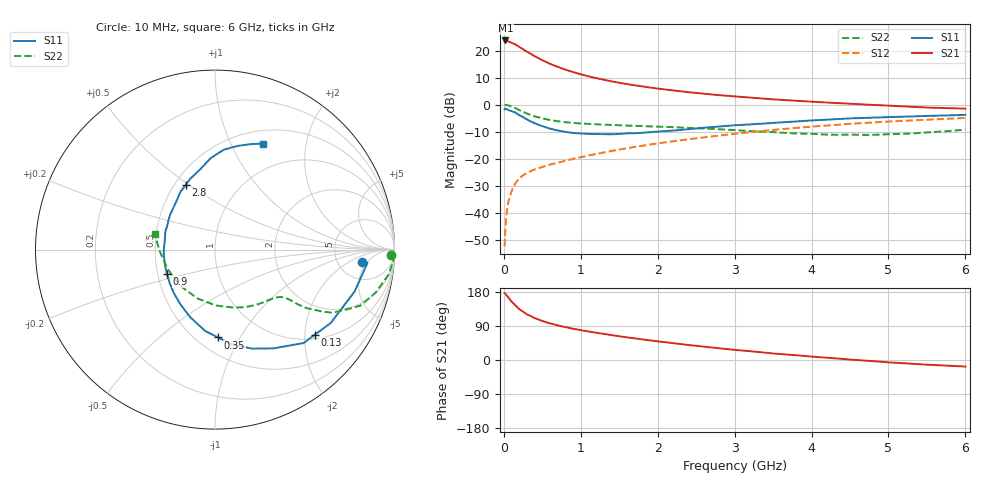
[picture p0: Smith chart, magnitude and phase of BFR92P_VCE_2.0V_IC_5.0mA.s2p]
! Infineon Technologies  Discrete & RF Semiconductors
! BFR92P
! VCE =  2.0 V,  IC =  5.0 mA
! Common Emitter S-Parameters:  Apr 2014
# GHz  S  MA  R  50
!  f  S11  S21  S12  S22
! GHz  MAG  ANG  MAG  ANG  MAG  ANG  MAG  ANG
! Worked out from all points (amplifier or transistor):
!   77 points, 10 MHz to 6 GHz, reference 50 ohm
!   highest |S21| = 23.8 dB at 20 MHz (marker M1)
!   |S21| within 3 dB of that: start of sweep to 235.2 MHz
!   unconditionally stable (mu >= 1): 967.3 MHz to 2.859 GHz
!   at 130 MHz: K = 0.24, MSG = 26.4 dB, |S12| = -30.2 dB
!   at 2.2 GHz: K = 1.06, MAG = 8.0 dB, |S12| = -13.5 dB
!   at 6 GHz: K = 0.89, MSG = 1.7 dB, |S12| = -4.9 dB
!   S11 on the Smith chart (normalised r, x): 10 MHz: 8.51, -3.62; 130 MHz: 1.10, -2.24; 350 MHz: 0.63, -0.81; 900 MHz: 0.56, -0.17; 2.8 GHz: 0.57, +0.48; 6 GHz: 0.65, +1.34
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0.01  0.8193 -4.9  15.08 176.0  0.0024 83.9  0.9802 -1.8
0.02  0.8529 -5.0  15.49 174.8  0.0051 89.5  0.996 -3.2
0.05  0.812 -16.7  15.09 167.1  0.0138 82.1  0.979 -8.0
0.1  0.7638 -32.3  14.04 154.2  0.0248 74.3  0.9257 -15.1
0.13  0.7305 -40.6  13.43 148.4  0.031 69.9  0.8897 -18.6
0.15  0.7175 -46.5  13.11 144.3  0.0352 67.8  0.8677 -21.1
0.2  0.6403 -59.2  11.78 134.4  0.043 63.4  0.7964 -25.0
0.3  0.5339 -80.4  9.609 120.4  0.0545 57.6  0.6861 -30.1
0.35  0.4896 -88.1  8.739 115.9  0.0589 56.6  0.6474 -31.2
0.4  0.4557 -97.1  7.934 110.5  0.0634 55.8  0.6089 -32.5
0.5  0.4008 -110.2  6.676 102.9  0.0701 55.4  0.557 -33.4
0.6  0.3605 -122.4  5.729 96.7  0.0779 55.5  0.5202 -33.7
0.7  0.3341 -133.3  5.018 91.4  0.084 56.2  0.4946 -34.0
0.9  0.2999 -153.1  4.026 82.5  0.0994 57.2  0.4603 -35.2
1.1  0.288 -168.3  3.358 75.3  0.1144 58.2  0.4424 -36.8
1.5  0.2875 165.6  2.551 62.7  0.1476 58.7  0.4172 -41.6
2.1  0.3242 137.2  1.913 46.9  0.2012 56.7  0.3879 -51.6
2.8  0.3949 114.5  1.502 30.9  0.2686 52.1  0.351 -66.6
3.1  0.4236 107.6  1.391 25.0  0.2987 49.1  0.3314 -75.5
4.1  0.5197 91.0  1.118 7.5  0.402 38.2  0.2834 -114.1
5.1  0.595 76.7  0.945 -7.4  0.4954 24.9  0.286 -161.6
6  0.6489 65.6  0.846 -17.3  0.5694 12.6  0.3463 165.9
